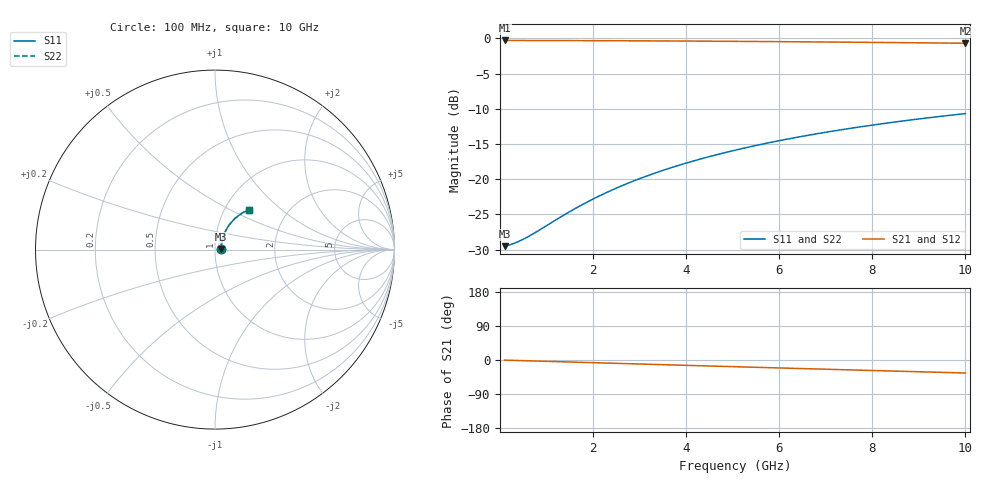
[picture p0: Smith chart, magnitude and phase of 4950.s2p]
# Hz S RI R 50.00
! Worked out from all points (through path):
!   100 points, 100 MHz to 10 GHz, reference 50 ohm
!   highest |S21| = -0.29 dB at 100 MHz (marker M1); lowest = -0.7 dB at 10 GHz (marker M2)
!   group delay of S21, straight-line fit = 9.54 ps
!   lowest |S11| = -29.5 dB at 100 MHz (marker M3), VSWR 1.07, Z = 53.4 + j0.319 ohm
!   |S11| at or under -10 dB: start of sweep to end of sweep
!   |S22| runs from -29.5 to -10.7 dB; largest |S21 - S12| = 0
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1e8  0.0333 0.00298  0.9667 -0.00597  0.9667 -0.00597  0.0333 0.00298
2e8  0.0336 0.00596  0.9664 -0.0119  0.9664 -0.0119  0.0336 0.00596
3e8  0.0338 0.00894  0.9661 -0.0179  0.9661 -0.0179  0.0338 0.00894
4e8  0.0341 0.0119  0.9658 -0.0238  0.9658 -0.0238  0.0341 0.0119
6e8  0.0347 0.0178  0.9652 -0.0357  0.9652 -0.0357  0.0347 0.0178
8e8  0.0353 0.0238  0.9643 -0.0476  0.9643 -0.0476  0.0353 0.0238
1.4e9  0.0381 0.0414  0.9609 -0.0831  0.9609 -0.0831  0.0381 0.0414
1.8e9  0.0407 0.053  0.9578 -0.1067  0.9578 -0.1067  0.0407 0.053
2.2e9  0.0437 0.0644  0.954 -0.13  0.954 -0.13  0.0437 0.0644
2.6e9  0.0474 0.0757  0.9495 -0.1532  0.9495 -0.1532  0.0474 0.0757
3e9  0.0515 0.0867  0.9443 -0.1762  0.9443 -0.1762  0.0515 0.0867
3.4e9  0.0562 0.0975  0.9385 -0.1989  0.9385 -0.1989  0.0562 0.0975
3.8e9  0.0614 0.1081  0.932 -0.2214  0.932 -0.2214  0.0614 0.1081
4.2e9  0.067 0.1183  0.9249 -0.2436  0.9249 -0.2436  0.067 0.1183
4.6e9  0.0732 0.1282  0.9171 -0.2654  0.9171 -0.2654  0.0732 0.1282
5.1e9  0.0815 0.1401  0.9066 -0.2923  0.9066 -0.2923  0.0815 0.1401
5.9e9  0.0961 0.1579  0.8879 -0.334  0.8879 -0.334  0.0961 0.1579
6.7e9  0.1123 0.1742  0.8671 -0.3741  0.8671 -0.3741  0.1123 0.1742
7.5e9  0.1297 0.1886  0.8443 -0.4125  0.8443 -0.4125  0.1297 0.1886
8.4e9  0.1507 0.2027  0.8167 -0.4534  0.8167 -0.4534  0.1507 0.2027
9.2e9  0.1703 0.2132  0.7905 -0.4878  0.7905 -0.4878  0.1703 0.2132
1e10  0.1905 0.2217  0.763 -0.5202  0.763 -0.5202  0.1905 0.2217
